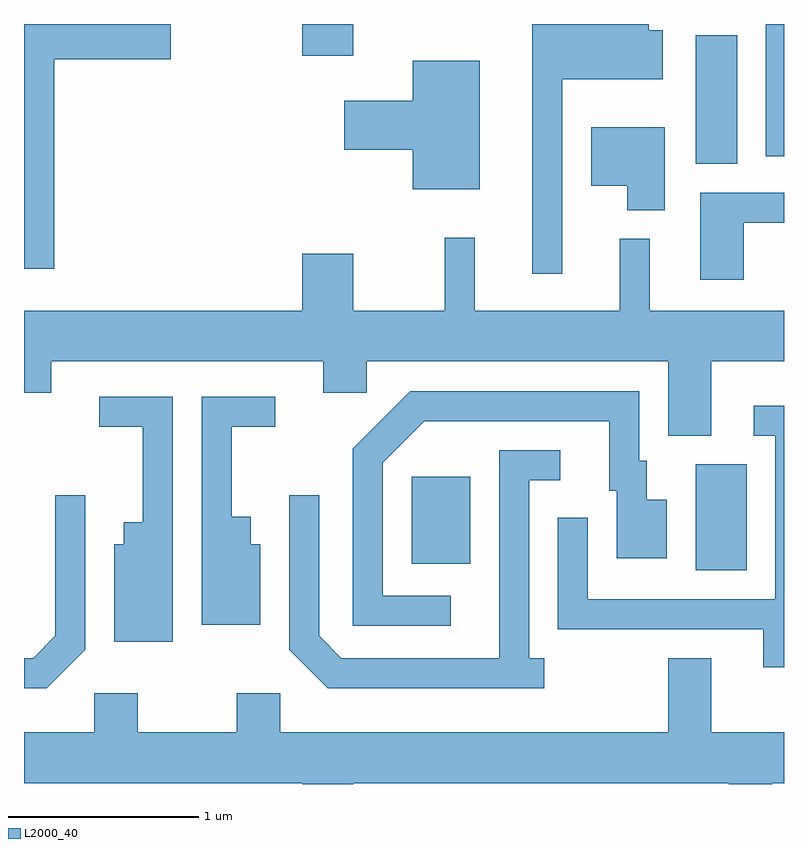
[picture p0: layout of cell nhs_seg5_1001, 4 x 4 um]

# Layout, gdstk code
import gdstk
lib = gdstk.Library(unit=1e-6, precision=1e-09)
def R(c, l, rs):  # rectangles x0, y0, x1, y1
    for r in rs: c.add(gdstk.rectangle(r[:2], r[2:], *l))
def P(c, l, *ps):  # polygons
    for p in ps: c.add(gdstk.Polygon(p, *l))
L2000_40 = (2000, 40)

nhs_seg5_1001 = lib.new_cell('nhs_seg5_1001')
R(nhs_seg5_1001, L2000_40, [(217.146,1511.196,217.414,1511.754), (215.651,1511.231,215.959,1511.689), (217.146,1513.336,217.364,1514.014), (217.516,1513.376,217.611,1514.072), (215.076,1513.906,215.344,1514.072)])
P(nhs_seg5_1001, L2000_40, [(216.444,1513.781),(216.974,1513.781),(216.974,1514.039),(216.899,1514.039),(216.899,1514.072),(216.286,1514.072),(216.286,1512.758),(216.444,1512.758)],
  [(213.769,1513.886),(214.384,1513.886),(214.384,1514.072),(213.611,1514.072),(213.611,1512.783),(213.769,1512.783)],
  [(216.009,1513.879),(215.656,1513.879),(215.656,1513.669),(215.296,1513.669),(215.296,1513.411),(215.656,1513.411),(215.656,1513.201),(216.009,1513.201)],
  [(216.984,1513.529),(216.596,1513.529),(216.596,1513.221),(216.786,1513.221),(216.786,1513.091),(216.984,1513.091)],
  [(217.399,1513.026),(217.611,1513.026),(217.611,1513.184),(217.171,1513.184),(217.171,1512.726),(217.399,1512.726)],
  [(217.229,1512.296),(217.611,1512.296),(217.611,1512.564),(216.904,1512.564),(216.904,1512.943),(216.746,1512.943),(216.746,1512.564),(215.984,1512.564),(215.984,1512.948),(215.826,1512.948),(215.826,1512.564),(215.344,1512.564),(215.344,1512.864),(215.076,1512.864),(215.076,1512.564),(213.611,1512.564),(213.611,1512.131),(213.754,1512.131),(213.754,1512.296),(215.186,1512.296),(215.186,1512.131),(215.414,1512.131),(215.414,1512.296),(217.001,1512.296),(217.001,1511.906),(217.229,1511.906)],
  [(215.858,1511.064),(215.499,1511.064),(215.499,1511.764),(215.717,1511.981),(216.691,1511.981),(216.691,1511.616),(216.731,1511.616),(216.731,1511.261),(216.994,1511.261),(216.994,1511.569),(216.889,1511.569),(216.889,1511.774),(216.849,1511.774),(216.849,1512.139),(215.644,1512.139),(215.341,1511.837),(215.341,1510.906),(215.858,1510.906)],
  [(214.854,1511.334),(214.804,1511.334),(214.804,1511.479),(214.704,1511.479),(214.704,1511.951),(214.933,1511.951),(214.933,1512.109),(214.546,1512.109),(214.546,1510.911),(214.854,1510.911)],
  [(214.394,1512.109),(214.008,1512.109),(214.008,1511.951),(214.236,1511.951),(214.236,1511.449),(214.136,1511.449),(214.136,1511.334),(214.086,1511.334),(214.086,1510.821),(214.394,1510.821)],
  [(217.611,1512.064),(217.453,1512.064),(217.453,1511.906),(217.566,1511.906),(217.566,1511.044),(216.579,1511.044),(216.579,1511.473),(216.421,1511.473),(216.421,1510.886),(217.501,1510.886),(217.501,1510.686),(217.611,1510.686)],
  [(216.348,1510.734),(216.269,1510.734),(216.269,1511.671),(216.433,1511.671),(216.433,1511.829),(216.111,1511.829),(216.111,1510.734),(215.282,1510.734),(215.164,1510.852),(215.164,1511.593),(215.006,1511.593),(215.006,1510.779),(215.209,1510.576),(216.348,1510.576)],
  [(213.934,1510.779),(213.934,1511.593),(213.776,1511.593),(213.776,1510.852),(213.659,1510.734),(213.611,1510.734),(213.611,1510.576),(213.732,1510.576)],
  [(215.344,1510.076),(217.321,1510.076),(217.321,1510.072),(217.549,1510.072),(217.549,1510.076),(217.611,1510.076),(217.611,1510.344),(217.229,1510.344),(217.229,1510.734),(217.001,1510.734),(217.001,1510.344),(214.959,1510.344),(214.959,1510.549),(214.731,1510.549),(214.731,1510.344),(214.209,1510.344),(214.209,1510.549),(213.981,1510.549),(213.981,1510.344),(213.611,1510.344),(213.611,1510.076),(215.076,1510.076),(215.076,1510.072),(215.344,1510.072)])

lib.write_gds('nhs_seg5_1001.gds')
